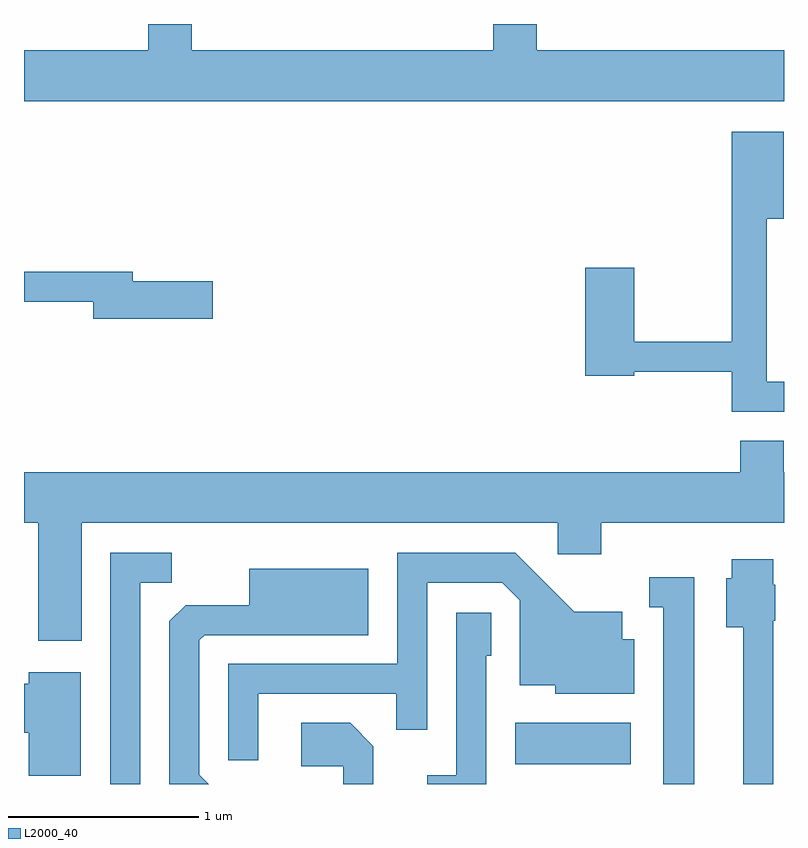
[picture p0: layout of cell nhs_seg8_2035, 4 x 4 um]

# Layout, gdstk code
import gdstk
lib = gdstk.Library(unit=1e-6, precision=1e-09)
def R(c, l, rs):  # rectangles x0, y0, x1, y1
    for r in rs: c.add(gdstk.rectangle(r[:2], r[2:], *l))
def P(c, l, *ps):  # polygons
    for p in ps: c.add(gdstk.Polygon(p, *l))
L2000_40 = (2000, 40)

nhs_seg8_2035 = lib.new_cell('nhs_seg8_2035')
R(nhs_seg8_2035, L2000_40, [(248.196,1868.446,248.804,1868.664)])
P(nhs_seg8_2035, L2000_40, [(249.611,1872.204),(248.309,1872.204),(248.309,1872.342),(248.081,1872.342),(248.081,1872.204),(246.494,1872.204),(246.494,1872.342),(246.266,1872.342),(246.266,1872.204),(245.611,1872.204),(245.611,1871.936),(249.611,1871.936)],
  [(249.611,1870.459),(249.519,1870.459),(249.519,1871.316),(249.609,1871.316),(249.609,1871.774),(249.336,1871.774),(249.336,1870.669),(248.824,1870.669),(248.824,1871.059),(248.566,1871.059),(248.566,1870.491),(248.824,1870.491),(248.824,1870.511),(249.336,1870.511),(249.336,1870.301),(249.611,1870.301)],
  [(246.604,1870.989),(246.184,1870.989),(246.184,1871.039),(245.611,1871.039),(245.611,1870.881),(245.976,1870.881),(245.976,1870.791),(246.604,1870.791)],
  [(245.914,1869.716),(248.421,1869.716),(248.421,1869.551),(248.649,1869.551),(248.649,1869.716),(249.611,1869.716),(249.611,1869.984),(249.609,1869.984),(249.609,1870.149),(249.381,1870.149),(249.381,1869.984),(245.611,1869.984),(245.611,1869.716),(245.686,1869.716),(245.686,1869.096),(245.914,1869.096)],
  [(246.844,1868.816),(247.571,1868.816),(247.571,1868.628),(247.734,1868.628),(247.734,1869.401),(248.129,1869.401),(248.221,1869.309),(248.221,1868.861),(248.406,1868.861),(248.406,1868.816),(248.824,1868.816),(248.824,1869.104),(248.759,1869.104),(248.759,1869.249),(248.507,1869.249),(248.197,1869.559),(247.576,1869.559),(247.576,1868.974),(246.686,1868.974),(246.686,1868.468),(246.844,1868.468)],
  [(246.224,1869.401),(246.388,1869.401),(246.388,1869.559),(246.066,1869.559),(246.066,1868.342),(246.224,1868.342)],
  [(249.554,1869.2),(249.564,1869.2),(249.564,1869.39),(249.554,1869.39),(249.554,1869.524),(249.336,1869.524),(249.336,1869.424),(249.306,1869.424),(249.306,1869.166),(249.396,1869.166),(249.396,1868.342),(249.554,1868.342)],
  [(246.534,1868.392),(246.534,1869.099),(246.562,1869.126),(247.424,1869.126),(247.424,1869.474),(246.796,1869.474),(246.796,1869.284),(246.462,1869.284),(246.376,1869.199),(246.376,1868.342),(246.584,1868.342)],
  [(249.139,1869.429),(248.903,1869.429),(248.903,1869.271),(248.976,1869.271),(248.976,1868.342),(249.139,1868.342)],
  [(248.044,1869.016),(248.069,1869.016),(248.069,1869.244),(247.886,1869.244),(247.886,1868.389),(247.733,1868.389),(247.733,1868.342),(248.044,1868.342)],
  [(245.909,1868.929),(245.636,1868.929),(245.636,1868.869),(245.611,1868.869),(245.611,1868.611),(245.636,1868.611),(245.636,1868.386),(245.909,1868.386)],
  [(247.449,1868.542),(247.327,1868.664),(247.071,1868.664),(247.071,1868.436),(247.291,1868.436),(247.291,1868.342),(247.449,1868.342)])

lib.write_gds('nhs_seg8_2035.gds')
